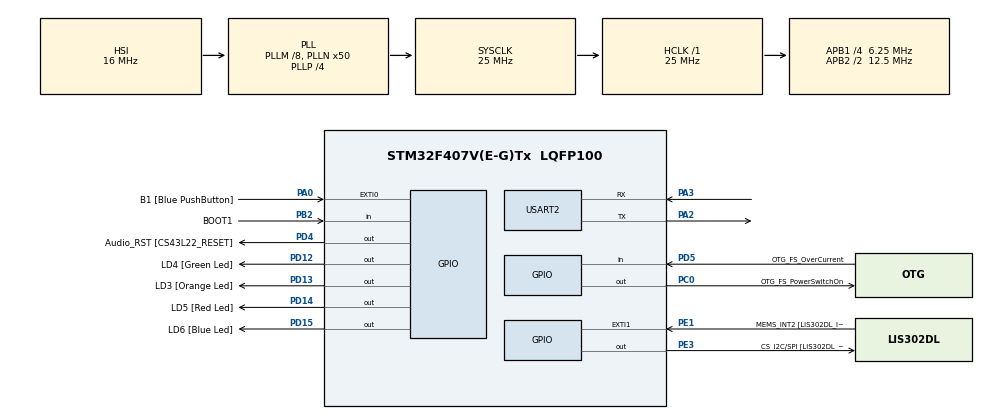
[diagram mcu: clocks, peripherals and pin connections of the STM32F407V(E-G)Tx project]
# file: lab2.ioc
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Mcu.Family=STM32F4
Mcu.Name=STM32F407V(E-G)Tx
Mcu.Package=LQFP100
NVIC.PriorityGroup=NVIC_PRIORITYGROUP_4
NVIC.TIM7_IRQn=true\:0\:0\:false\:false\:true\:false\:true\:true
NVIC.TimeBase=TIM7_IRQn
NVIC.TimeBaseIP=TIM7
PA0-WKUP.GPIO_Label=B1 [Blue PushButton]
PA0-WKUP.Signal=GPXTI0
PA10.GPIO_Label=OTG_FS_ID
PA10.GPIO_Mode=GPIO_MODE_AF_PP
PA10.GPIO_PuPd=GPIO_NOPULL
PA10.GPIO_Speed=GPIO_SPEED_FREQ_LOW
PA10.Signal=USB_OTG_FS_ID
PA11.GPIO_Label=OTG_FS_DM
PA11.GPIO_Mode=GPIO_MODE_AF_PP
PA11.GPIO_PuPd=GPIO_NOPULL
PA11.GPIO_Speed=GPIO_SPEED_FREQ_LOW
PA11.Signal=USB_OTG_FS_DM
PA12.GPIO_Label=OTG_FS_DP
PA12.GPIO_Mode=GPIO_MODE_AF_PP
PA12.GPIO_PuPd=GPIO_NOPULL
PA12.GPIO_Speed=GPIO_SPEED_FREQ_LOW
PA12.Signal=USB_OTG_FS_DP
PA13.GPIO_Label=SWDIO
PA13.Mode=Serial_Wire
PA13.Signal=SYS_JTMS-SWDIO
PA14.GPIO_Label=SWCLK
PA14.Mode=Serial_Wire
PA14.Signal=SYS_JTCK-SWCLK
PA2.Mode=Asynchronous
PA2.Signal=USART2_TX
PA3.Mode=Asynchronous
PA3.Signal=USART2_RX
PA4.GPIO_Label=I2S3_WS [CS43L22_LRCK]
PA4.GPIO_Mode=GPIO_MODE_AF_PP
PA4.GPIO_PuPd=GPIO_NOPULL
PA4.GPIO_Speed=GPIO_SPEED_FREQ_LOW
PA4.Signal=I2S3_WS
PA5.GPIO_Label=SPI1_SCK [LIS302DL_SCL/SPC]
PA5.GPIO_Mode=GPIO_MODE_AF_PP
PA5.GPIO_PuPd=GPIO_NOPULL
PA5.GPIO_Speed=GPIO_SPEED_FREQ_LOW
PA5.Signal=SPI1_SCK
PA6.GPIO_Label=SPI1_MISO [LIS302DL_SDO]
PA6.GPIO_Mode=GPIO_MODE_AF_PP
PA6.GPIO_PuPd=GPIO_NOPULL
PA6.GPIO_Speed=GPIO_SPEED_FREQ_LOW
PA6.Signal=SPI1_MISO
PA7.GPIO_Label=SPI1_MOSI [LIS302DL_SDA/SDI/SDO]
PA7.GPIO_Mode=GPIO_MODE_AF_PP
PA7.GPIO_PuPd=GPIO_NOPULL
PA7.GPIO_Speed=GPIO_SPEED_FREQ_LOW
PA7.Signal=SPI1_MOSI
PA9.GPIO_Label=VBUS_FS
PA9.GPIO_Mode=GPIO_MODE_INPUT
PA9.GPIO_PuPd=GPIO_NOPULL
PA9.Signal=USB_OTG_FS_VBUS
PB10.GPIO_Label=CLK_IN [MP45DT02_CLK]
PB10.GPIO_Mode=GPIO_MODE_AF_PP
PB10.GPIO_PuPd=GPIO_NOPULL
PB10.GPIO_Speed=GPIO_SPEED_FREQ_LOW
PB10.Signal=I2S2_CK
PB2.GPIO_Label=BOOT1
PB2.GPIO_Mode=GPIO_MODE_INPUT
PB2.GPIO_PuPd=GPIO_NOPULL
PB2.Signal=GPIO_Input
PB3.GPIO_Label=SWO
PB3.Signal=SYS_JTDO-SWO
PB6.GPIO_Label=Audio_SCL [CS43L22_SCL]
PB6.GPIO_Mode=GPIO_MODE_AF_OD
PB6.GPIO_PuPd=GPIO_NOPULL
PB6.GPIO_Speed=GPIO_SPEED_FREQ_LOW
PB6.Signal=I2C1_SCL
PB9.GPIO_Label=Audio_SDA [CS43L22_SDA]
PB9.GPIO_Mode=GPIO_MODE_AF_OD
PB9.GPIO_PuPd=GPIO_NOPULL
PB9.GPIO_Speed=GPIO_SPEED_FREQ_LOW
PB9.Signal=I2C1_SDA
PC0.GPIO_Label=OTG_FS_PowerSwitchOn
PC0.GPIO_PuPd=GPIO_NOPULL
PC0.GPIO_Speed=GPIO_SPEED_FREQ_LOW
PC0.PinState=GPIO_PIN_SET
PC0.Signal=GPIO_Output
PC10.GPIO_Label=I2S3_SCK [CS43L22_SCLK]
PC10.GPIO_Mode=GPIO_MODE_AF_PP
PC10.GPIO_PuPd=GPIO_NOPULL
PC10.GPIO_Speed=GPIO_SPEED_FREQ_LOW
PC10.Signal=I2S3_CK
PC12.GPIO_Label=I2S3_SD [CS43L22_SDIN]
PC12.GPIO_Mode=GPIO_MODE_AF_PP
PC12.GPIO_PuPd=GPIO_NOPULL
PC12.GPIO_Speed=GPIO_SPEED_FREQ_LOW
PC12.Signal=I2S3_SD
PC14-OSC32_IN.GPIO_Label=PC14-OSC32_IN
PC14-OSC32_IN.Signal=RCC_OSC32_IN
PC15-OSC32_OUT.GPIO_Label=PC15-OSC32_OUT
PC15-OSC32_OUT.Signal=RCC_OSC32_OUT
PC3.GPIO_Label=PDM_OUT [MP45DT02_DOUT]
PC3.GPIO_Mode=GPIO_MODE_AF_PP
PC3.GPIO_PuPd=GPIO_NOPULL
PC3.GPIO_Speed=GPIO_SPEED_FREQ_LOW
PC3.Signal=I2S2_SD
PC7.GPIO_Label=I2S3_MCK [CS43L22_MCLK]
PC7.GPIO_Mode=GPIO_MODE_AF_PP
PC7.GPIO_PuPd=GPIO_NOPULL
PC7.GPIO_Speed=GPIO_SPEED_FREQ_LOW
PC7.Signal=I2S3_MCK
PD12.GPIO_Label=LD4 [Green Led]
PD12.GPIO_PuPd=GPIO_NOPULL
PD12.GPIO_Speed=GPIO_SPEED_FREQ_LOW
PD12.Signal=GPIO_Output
PD13.GPIO_Label=LD3 [Orange Led]
PD13.GPIO_PuPd=GPIO_NOPULL
PD13.GPIO_Speed=GPIO_SPEED_FREQ_LOW
PD13.Signal=GPIO_Output
PD14.GPIO_Label=LD5 [Red Led]
PD14.GPIO_PuPd=GPIO_NOPULL
PD14.GPIO_Speed=GPIO_SPEED_FREQ_LOW
PD14.Signal=GPIO_Output
PD15.GPIO_Label=LD6 [Blue Led]
PD15.GPIO_PuPd=GPIO_NOPULL
PD15.GPIO_Speed=GPIO_SPEED_FREQ_LOW
PD15.Signal=GPIO_Output
PD4.GPIO_Label=Audio_RST [CS43L22_RESET]
PD4.GPIO_PuPd=GPIO_NOPULL
PD4.GPIO_Speed=GPIO_SPEED_FREQ_LOW
PD4.Signal=GPIO_Output
PD5.GPIO_Label=OTG_FS_OverCurrent
PD5.GPIO_Mode=GPIO_MODE_INPUT
PD5.GPIO_PuPd=GPIO_NOPULL
PD5.Signal=GPIO_Input
PE1.GPIO_Label=MEMS_INT2 [LIS302DL_INT2]
PE1.GPIO_ModeDefaultEXTI=GPIO_MODE_EVT_RISING
PE1.GPIO_PuPd=GPIO_NOPULL
PE1.Signal=GPXTI1
PE3.GPIO_Label=CS_I2C/SPI [LIS302DL_CS_I2C/SPI]
PE3.GPIO_PuPd=GPIO_NOPULL
PE3.GPIO_Speed=GPIO_SPEED_FREQ_LOW
PE3.Signal=GPIO_Output
PH0-OSC_IN.GPIO_Label=PH0-OSC_IN
PH0-OSC_IN.Signal=RCC_OSC_IN
PH1-OSC_OUT.GPIO_Label=PH1-OSC_OUT
PH1-OSC_OUT.Signal=RCC_OSC_OUT
ProjectManager.HeapSize=0x200
ProjectManager.StackSize=0x400
ProjectManager.TargetToolchain=STM32CubeIDE
RCC.48MHZClocksFreq_Value=14285714.285714285
RCC.AHBFreq_Value=25000000
RCC.APB1CLKDivider=RCC_HCLK_DIV4
RCC.APB1Freq_Value=6250000
RCC.APB1TimFreq_Value=12500000
RCC.APB2CLKDivider=RCC_HCLK_DIV2
RCC.APB2Freq_Value=12500000
RCC.APB2TimFreq_Value=25000000
RCC.CortexFreq_Value=25000000
RCC.HCLKFreq_Value=25000000
RCC.HSE_VALUE=8000000
RCC.HSI_VALUE=16000000
RCC.LSE_VALUE=32768
RCC.PLLM=8
RCC.PLLN=50
RCC.PLLP=RCC_PLLP_DIV4
RCC.PLLQ=7
RCC.SYSCLKFreq_VALUE=25000000
RCC.SYSCLKSource=RCC_SYSCLKSOURCE_PLLCLK
RCC.VCOOutputFreq_Value=100000000
USART2.VirtualMode=VM_ASYNC
VP_SYS_VS_tim7.Mode=TIM7
board=STM32F407G-DISC1

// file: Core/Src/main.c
 /* USER CODE BEGIN Header */
/**
  ******************************************************************************
  * @file           : main.c
  * @brief          : Main program body
  ******************************************************************************
  * @attention
  *
  * Copyright (c) 2022 STMicroelectronics.
  * All rights reserved.
  *
  * This software is licensed under terms that can be found in the LICENSE file
  * in the root directory of this software component.
  * If no LICENSE file comes with this software, it is provided AS-IS.
  *
  ******************************************************************************
  */
/* USER CODE END Header */
#include "main.h"
#include"FreeRTOS.h"
#include"task.h"

/* USER CODE BEGIN Includes */
#include <stdio.h>
#include <string.h>/* USER CODE BEGIN Header */
/**
  ******************************************************************************
  * @file           : main.c
  * @brief          : Main program body
  ******************************************************************************
  * @attention
  *
  * Copyright (c) 2022 STMicroelectronics.
  * All rights reserved.
  *
  * This software is licensed under terms that can be found in the LICENSE file
  * in the root directory of this software component.
  * If no LICENSE file comes with this software, it is provided AS-IS.
  *
  ******************************************************************************
  */
/* USER CODE END Header */
/* Includes ------------------------------------------------------------------*/
#include "main.h"
#include"FreeRTOS.h"
#include"task.h"

/* Private includes ----------------------------------------------------------*/
/* USER CODE BEGIN Includes */
#include <string.h>
#include <stdlib.h>
#include <math.h>

/* USER CODE END Includes */

UART_HandleTypeDef huart2;

void SystemClock_Config(void);
static void MX_GPIO_Init(void);
static void MX_USART2_UART_Init(void);

/* USER CODE BEGIN 0 */
BaseType_t xReturned;
TaskHandle_t xHandle=NULL;

/* prelab
void USART_Test(void* pvParameters ){
	uint32_t Monitortimer = 400;
	char MonitorTest[30];
    char num[15];
    int i = 0;
	while(1){
		memset(MonitorTest, '\0', sizeof(MonitorTest));
		memset(num, '\0', sizeof(num));
		itoa(i, num, 10);
		strcat(num, " ");
		sprintf(MonitorTest, "The point is %s\n\r", num);
		HAL_UART_Transmit(&huart2, (uint8_t *)MonitorTest, strlen(MonitorTest), 0xffff);
		vTaskDelay(Monitortimer);
		Monitortimer += 1;
		i += 1;
	}
}
*/

void TaskMonitor_App(void *pvParameters)
{
	uint32_t Monitortimer = 5000;
	while(1){
		Taskmonitor();
		vTaskDelay(Monitortimer);
		Monitortimer += 1;
	}
}

void Red_LED_APP(void *pvParameters){
	uint32_t Redtimer = 800;
	for(;;){
		HAL_GPIO_TogglePin(GPIOD, LD5_Pin); // should modify macro of redLED
		vTaskDelay(Redtimer);
		Redtimer += 1;
	}
}

void Green_LED_APP(void *pvParameters){
	uint32_t Greentimer = 1000;
	for(;;){
		HAL_GPIO_TogglePin(GPIOD, LD4_Pin); // should modify macro of greenLED
		vTaskDelay(Greentimer);
		Greentimer += 1;
	}
}

void Delay_APP(void *pvParameters){
	int delayflag = 0;
	uint32_t delaytime;
	while(1){
		if(delayflag == 0){
			delaytime = 15000;
			delayflag = 1;
		}
		else {
			delaytime = 0xFFFFFFFF;
		}
		vTaskDelay(delaytime);
	}
}

/* USER CODE END 0 */

int main(void)
{

  /* MCU Configuration--------------------------------------------------------*/

  /* Reset of all peripherals, Initializes the Flash interface and the Systick. */
  HAL_Init();

  /* Configure the system clock */
  SystemClock_Config();

  /* Initialize all configured peripherals */
  MX_GPIO_Init();
  MX_USART2_UART_Init();
  /* USER CODE BEGIN 2 */
   /*
   xTaskCreate(
		  USART_Test,
		  "NAME",
		  128,
		  NULL,
		  1,
		  &xHandle);
	*/
	xTaskCreate(
		  Red_LED_APP,
		  "Red_LED_APP",
		  128,
		  NULL,
		  1,
		  &xHandle);
	xTaskCreate(
		  Green_LED_APP,
		  "Green_LED_APP",
		  128,
		  NULL,
		  1,
		  &xHandle);
	xTaskCreate(
		  TaskMonitor_App,
		  "TaskMonitor",
		  512,
		  NULL,
		  2,
		  &xHandle);
	xTaskCreate(
		  Delay_APP,
		  "Delay_APP",
		  128,
		  NULL,
		  14,
		  &xHandle);

  vTaskStartScheduler();
  /* USER CODE END 2 */

  /* Infinite loop */
  while (1)
  {

  }
}

void SystemClock_Config(void)
{
  RCC_OscInitTypeDef RCC_OscInitStruct = {0};
  RCC_ClkInitTypeDef RCC_ClkInitStruct = {0};

  /** Configure the main internal regulator output voltage
  */
  __HAL_RCC_PWR_CLK_ENABLE();
  __HAL_PWR_VOLTAGESCALING_CONFIG(PWR_REGULATOR_VOLTAGE_SCALE1);
  /** Initializes the RCC Oscillators according to the specified parameters
  * in the RCC_OscInitTypeDef structure.
  */
  RCC_OscInitStruct.OscillatorType = RCC_OSCILLATORTYPE_HSI;
  RCC_OscInitStruct.HSIState = RCC_HSI_ON;
  RCC_OscInitStruct.HSICalibrationValue = RCC_HSICALIBRATION_DEFAULT;
  RCC_OscInitStruct.PLL.PLLState = RCC_PLL_ON;
  RCC_OscInitStruct.PLL.PLLSource = RCC_PLLSOURCE_HSI;
  RCC_OscInitStruct.PLL.PLLM = 8;
  RCC_OscInitStruct.PLL.PLLN = 50;
  RCC_OscInitStruct.PLL.PLLP = RCC_PLLP_DIV4;
  RCC_OscInitStruct.PLL.PLLQ = 7;
  if (HAL_RCC_OscConfig(&RCC_OscInitStruct) != HAL_OK)
  {
    Error_Handler();
  }
  /** Initializes the CPU, AHB and APB buses clocks
  */
  RCC_ClkInitStruct.ClockType = RCC_CLOCKTYPE_HCLK|RCC_CLOCKTYPE_SYSCLK
                              |RCC_CLOCKTYPE_PCLK1|RCC_CLOCKTYPE_PCLK2;
  RCC_ClkInitStruct.SYSCLKSource = RCC_SYSCLKSOURCE_PLLCLK;
  RCC_ClkInitStruct.AHBCLKDivider = RCC_SYSCLK_DIV1;
  RCC_ClkInitStruct.APB1CLKDivider = RCC_HCLK_DIV4;
  RCC_ClkInitStruct.APB2CLKDivider = RCC_HCLK_DIV2;

  if (HAL_RCC_ClockConfig(&RCC_ClkInitStruct, FLASH_LATENCY_0) != HAL_OK)
  {
    Error_Handler();
  }
}

static void MX_USART2_UART_Init(void)
{

  huart2.Instance = USART2;
  huart2.Init.BaudRate = 115200;
  huart2.Init.WordLength = UART_WORDLENGTH_8B;
  huart2.Init.StopBits = UART_STOPBITS_1;
  huart2.Init.Parity = UART_PARITY_NONE;
  huart2.Init.Mode = UART_MODE_TX_RX;
  huart2.Init.HwFlowCtl = UART_HWCONTROL_NONE;
  huart2.Init.OverSampling = UART_OVERSAMPLING_16;
  if (HAL_UART_Init(&huart2) != HAL_OK)
  {
    Error_Handler();
  }

}

static void MX_GPIO_Init(void)
{
  GPIO_InitTypeDef GPIO_InitStruct = {0};

  /* GPIO Ports Clock Enable */
  __HAL_RCC_GPIOE_CLK_ENABLE();
  __HAL_RCC_GPIOC_CLK_ENABLE();
  __HAL_RCC_GPIOH_CLK_ENABLE();
  __HAL_RCC_GPIOA_CLK_ENABLE();
  __HAL_RCC_GPIOB_CLK_ENABLE();
  __HAL_RCC_GPIOD_CLK_ENABLE();

  /*Configure GPIO pin Output Level */
  HAL_GPIO_WritePin(CS_I2C_SPI_GPIO_Port, CS_I2C_SPI_Pin, GPIO_PIN_RESET);

  /*Configure GPIO pin Output Level */
  HAL_GPIO_WritePin(OTG_FS_PowerSwitchOn_GPIO_Port, OTG_FS_PowerSwitchOn_Pin, GPIO_PIN_SET);

  /*Configure GPIO pin Output Level */
  HAL_GPIO_WritePin(GPIOD, LD4_Pin|LD3_Pin|LD5_Pin|LD6_Pin
                          |Audio_RST_Pin, GPIO_PIN_RESET);

  /*Configure GPIO pin : CS_I2C_SPI_Pin */
  GPIO_InitStruct.Pin = CS_I2C_SPI_Pin;
  GPIO_InitStruct.Mode = GPIO_MODE_OUTPUT_PP;
  GPIO_InitStruct.Pull = GPIO_NOPULL;
  GPIO_InitStruct.Speed = GPIO_SPEED_FREQ_LOW;
  HAL_GPIO_Init(CS_I2C_SPI_GPIO_Port, &GPIO_InitStruct);

  /*Configure GPIO pin : OTG_FS_PowerSwitchOn_Pin */
  GPIO_InitStruct.Pin = OTG_FS_PowerSwitchOn_Pin;
  GPIO_InitStruct.Mode = GPIO_MODE_OUTPUT_PP;
  GPIO_InitStruct.Pull = GPIO_NOPULL;
  GPIO_InitStruct.Speed = GPIO_SPEED_FREQ_LOW;
  HAL_GPIO_Init(OTG_FS_PowerSwitchOn_GPIO_Port, &GPIO_InitStruct);

  /*Configure GPIO pin : PDM_OUT_Pin */
  GPIO_InitStruct.Pin = PDM_OUT_Pin;
  GPIO_InitStruct.Mode = GPIO_MODE_AF_PP;
  GPIO_InitStruct.Pull = GPIO_NOPULL;
  GPIO_InitStruct.Speed = GPIO_SPEED_FREQ_LOW;
  GPIO_InitStruct.Alternate = GPIO_AF5_SPI2;
  HAL_GPIO_Init(PDM_OUT_GPIO_Port, &GPIO_InitStruct);

  /*Configure GPIO pin : B1_Pin */
  GPIO_InitStruct.Pin = B1_Pin;
  GPIO_InitStruct.Mode = GPIO_MODE_IT_RISING;
  GPIO_InitStruct.Pull = GPIO_NOPULL;
  HAL_GPIO_Init(B1_GPIO_Port, &GPIO_InitStruct);

  /*Configure GPIO pin : I2S3_WS_Pin */
  GPIO_InitStruct.Pin = I2S3_WS_Pin;
  GPIO_InitStruct.Mode = GPIO_MODE_AF_PP;
  GPIO_InitStruct.Pull = GPIO_NOPULL;
  GPIO_InitStruct.Speed = GPIO_SPEED_FREQ_LOW;
  GPIO_InitStruct.Alternate = GPIO_AF6_SPI3;
  HAL_GPIO_Init(I2S3_WS_GPIO_Port, &GPIO_InitStruct);

  /*Configure GPIO pins : SPI1_SCK_Pin SPI1_MISO_Pin SPI1_MOSI_Pin */
  GPIO_InitStruct.Pin = SPI1_SCK_Pin|SPI1_MISO_Pin|SPI1_MOSI_Pin;
  GPIO_InitStruct.Mode = GPIO_MODE_AF_PP;
  GPIO_InitStruct.Pull = GPIO_NOPULL;
  GPIO_InitStruct.Speed = GPIO_SPEED_FREQ_LOW;
  GPIO_InitStruct.Alternate = GPIO_AF5_SPI1;
  HAL_GPIO_Init(GPIOA, &GPIO_InitStruct);

  /*Configure GPIO pin : BOOT1_Pin */
  GPIO_InitStruct.Pin = BOOT1_Pin;
  GPIO_InitStruct.Mode = GPIO_MODE_INPUT;
  GPIO_InitStruct.Pull = GPIO_NOPULL;
  HAL_GPIO_Init(BOOT1_GPIO_Port, &GPIO_InitStruct);

  /*Configure GPIO pin : CLK_IN_Pin */
  GPIO_InitStruct.Pin = CLK_IN_Pin;
  GPIO_InitStruct.Mode = GPIO_MODE_AF_PP;
  GPIO_InitStruct.Pull = GPIO_NOPULL;
  GPIO_InitStruct.Speed = GPIO_SPEED_FREQ_LOW;
  GPIO_InitStruct.Alternate = GPIO_AF5_SPI2;
  HAL_GPIO_Init(CLK_IN_GPIO_Port, &GPIO_InitStruct);

  /*Configure GPIO pins : LD4_Pin LD3_Pin LD5_Pin LD6_Pin
                           Audio_RST_Pin */
  GPIO_InitStruct.Pin = LD4_Pin|LD3_Pin|LD5_Pin|LD6_Pin
                          |Audio_RST_Pin;
  GPIO_InitStruct.Mode = GPIO_MODE_OUTPUT_PP;
  GPIO_InitStruct.Pull = GPIO_NOPULL;
  GPIO_InitStruct.Speed = GPIO_SPEED_FREQ_LOW;
  HAL_GPIO_Init(GPIOD, &GPIO_InitStruct);

  /*Configure GPIO pins : I2S3_MCK_Pin I2S3_SCK_Pin I2S3_SD_Pin */
  GPIO_InitStruct.Pin = I2S3_MCK_Pin|I2S3_SCK_Pin|I2S3_SD_Pin;
  GPIO_InitStruct.Mode = GPIO_MODE_AF_PP;
  GPIO_InitStruct.Pull = GPIO_NOPULL;
  GPIO_InitStruct.Speed = GPIO_SPEED_FREQ_LOW;
  GPIO_InitStruct.Alternate = GPIO_AF6_SPI3;
  HAL_GPIO_Init(GPIOC, &GPIO_InitStruct);

  /*Configure GPIO pin : VBUS_FS_Pin */
  GPIO_InitStruct.Pin = VBUS_FS_Pin;
  GPIO_InitStruct.Mode = GPIO_MODE_INPUT;
  GPIO_InitStruct.Pull = GPIO_NOPULL;
  HAL_GPIO_Init(VBUS_FS_GPIO_Port, &GPIO_InitStruct);

  /*Configure GPIO pins : OTG_FS_ID_Pin OTG_FS_DM_Pin OTG_FS_DP_Pin */
  GPIO_InitStruct.Pin = OTG_FS_ID_Pin|OTG_FS_DM_Pin|OTG_FS_DP_Pin;
  GPIO_InitStruct.Mode = GPIO_MODE_AF_PP;
  GPIO_InitStruct.Pull = GPIO_NOPULL;
  GPIO_InitStruct.Speed = GPIO_SPEED_FREQ_LOW;
  GPIO_InitStruct.Alternate = GPIO_AF10_OTG_FS;
  HAL_GPIO_Init(GPIOA, &GPIO_InitStruct);

  /*Configure GPIO pin : OTG_FS_OverCurrent_Pin */
  GPIO_InitStruct.Pin = OTG_FS_OverCurrent_Pin;
  GPIO_InitStruct.Mode = GPIO_MODE_INPUT;
  GPIO_InitStruct.Pull = GPIO_NOPULL;
  HAL_GPIO_Init(OTG_FS_OverCurrent_GPIO_Port, &GPIO_InitStruct);

  /*Configure GPIO pins : Audio_SCL_Pin Audio_SDA_Pin */
  GPIO_InitStruct.Pin = Audio_SCL_Pin|Audio_SDA_Pin;
  GPIO_InitStruct.Mode = GPIO_MODE_AF_OD;
  GPIO_InitStruct.Pull = GPIO_NOPULL;
  GPIO_InitStruct.Speed = GPIO_SPEED_FREQ_LOW;
  GPIO_InitStruct.Alternate = GPIO_AF4_I2C1;
  HAL_GPIO_Init(GPIOB, &GPIO_InitStruct);

  /*Configure GPIO pin : MEMS_INT2_Pin */
  GPIO_InitStruct.Pin = MEMS_INT2_Pin;
  GPIO_InitStruct.Mode = GPIO_MODE_EVT_RISING;
  GPIO_InitStruct.Pull = GPIO_NOPULL;
  HAL_GPIO_Init(MEMS_INT2_GPIO_Port, &GPIO_InitStruct);

}

void HAL_TIM_PeriodElapsedCallback(TIM_HandleTypeDef *htim)
{
  if (htim->Instance == TIM7) {
    HAL_IncTick();
  }
}

void Error_Handler(void)
{
  __disable_irq();
  while (1)
  {
  }
}
